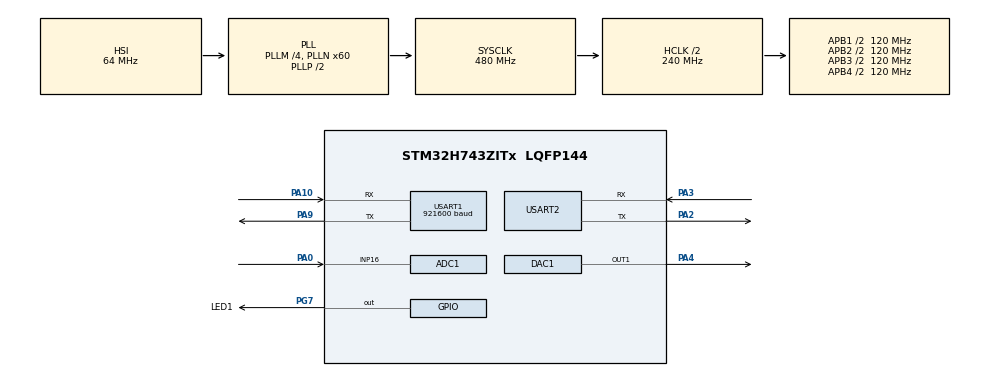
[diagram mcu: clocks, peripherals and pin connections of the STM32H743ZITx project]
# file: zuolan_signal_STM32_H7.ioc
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ADC1.Channel-0\#ChannelRegularConversion=ADC_CHANNEL_16
ADC1.ClockPrescaler=ADC_CLOCK_ASYNC_DIV4
ADC1.ContinuousConvMode=DISABLE
ADC1.ConversionDataManagement=ADC_CONVERSIONDATA_DMA_CIRCULAR
ADC1.ExternalTrigConv=ADC_EXTERNALTRIG_T2_TRGO
ADC1.NbrOfConversionFlag=1
ADC1.OffsetNumber-0\#ChannelRegularConversion=ADC_OFFSET_NONE
ADC1.OffsetSignedSaturation-0\#ChannelRegularConversion=DISABLE
ADC1.Overrun=ADC_OVR_DATA_OVERWRITTEN
ADC1.Rank-0\#ChannelRegularConversion=1
ADC1.SamplingTime-0\#ChannelRegularConversion=ADC_SAMPLETIME_8CYCLES_5
ADC1.master=1
CORTEX_M7.CPU_ICache=Enabled
CORTEX_M7.default_mode_Activation=1
DAC1.DAC_Channel-DAC_OUT1=DAC_CHANNEL_1
DAC1.DAC_Trigger-DAC_OUT1=DAC_TRIGGER_T6_TRGO
Dma.ADC1.2.Direction=DMA_PERIPH_TO_MEMORY
Dma.ADC1.2.EventEnable=DISABLE
Dma.ADC1.2.FIFOMode=DMA_FIFOMODE_DISABLE
Dma.ADC1.2.Instance=DMA1_Stream3
Dma.ADC1.2.MemDataAlignment=DMA_MDATAALIGN_HALFWORD
Dma.ADC1.2.MemInc=DMA_MINC_ENABLE
Dma.ADC1.2.Mode=DMA_CIRCULAR
Dma.ADC1.2.PeriphDataAlignment=DMA_PDATAALIGN_HALFWORD
Dma.ADC1.2.PeriphInc=DMA_PINC_DISABLE
Dma.ADC1.2.Polarity=HAL_DMAMUX_REQ_GEN_RISING
Dma.ADC1.2.Priority=DMA_PRIORITY_HIGH
Dma.ADC1.2.RequestNumber=1
Dma.ADC1.2.SignalID=NONE
Dma.ADC1.2.SyncEnable=DISABLE
Dma.ADC1.2.SyncPolarity=HAL_DMAMUX_SYNC_NO_EVENT
Dma.ADC1.2.SyncRequestNumber=1
Dma.ADC1.2.SyncSignalID=NONE
Dma.DAC1_CH1.3.Direction=DMA_MEMORY_TO_PERIPH
Dma.DAC1_CH1.3.EventEnable=DISABLE
Dma.DAC1_CH1.3.FIFOMode=DMA_FIFOMODE_DISABLE
Dma.DAC1_CH1.3.Instance=DMA1_Stream2
Dma.DAC1_CH1.3.MemDataAlignment=DMA_MDATAALIGN_HALFWORD
Dma.DAC1_CH1.3.MemInc=DMA_MINC_ENABLE
Dma.DAC1_CH1.3.Mode=DMA_CIRCULAR
Dma.DAC1_CH1.3.PeriphDataAlignment=DMA_PDATAALIGN_HALFWORD
Dma.DAC1_CH1.3.PeriphInc=DMA_PINC_DISABLE
Dma.DAC1_CH1.3.Polarity=HAL_DMAMUX_REQ_GEN_RISING
Dma.DAC1_CH1.3.Priority=DMA_PRIORITY_LOW
Dma.DAC1_CH1.3.RequestNumber=1
Dma.DAC1_CH1.3.SignalID=NONE
Dma.DAC1_CH1.3.SyncEnable=DISABLE
Dma.DAC1_CH1.3.SyncPolarity=HAL_DMAMUX_SYNC_NO_EVENT
Dma.DAC1_CH1.3.SyncRequestNumber=1
Dma.DAC1_CH1.3.SyncSignalID=NONE
Dma.Request0=USART1_RX
Dma.Request1=USART2_RX
Dma.Request2=ADC1
Dma.Request3=DAC1_CH1
Dma.Request4=USART1_TX
Dma.USART1_RX.0.Direction=DMA_PERIPH_TO_MEMORY
Dma.USART1_RX.0.EventEnable=DISABLE
Dma.USART1_RX.0.FIFOMode=DMA_FIFOMODE_DISABLE
Dma.USART1_RX.0.Instance=DMA1_Stream0
Dma.USART1_RX.0.MemDataAlignment=DMA_MDATAALIGN_BYTE
Dma.USART1_RX.0.MemInc=DMA_MINC_ENABLE
Dma.USART1_RX.0.Mode=DMA_CIRCULAR
Dma.USART1_RX.0.PeriphDataAlignment=DMA_PDATAALIGN_BYTE
Dma.USART1_RX.0.PeriphInc=DMA_PINC_DISABLE
Dma.USART1_RX.0.Polarity=HAL_DMAMUX_REQ_GEN_RISING
Dma.USART1_RX.0.Priority=DMA_PRIORITY_HIGH
Dma.USART1_RX.0.RequestNumber=1
Dma.USART1_RX.0.SignalID=NONE
Dma.USART1_RX.0.SyncEnable=DISABLE
Dma.USART1_RX.0.SyncPolarity=HAL_DMAMUX_SYNC_NO_EVENT
Dma.USART1_RX.0.SyncRequestNumber=1
Dma.USART1_RX.0.SyncSignalID=NONE
Dma.USART1_TX.4.Direction=DMA_MEMORY_TO_PERIPH
Dma.USART1_TX.4.EventEnable=DISABLE
Dma.USART1_TX.4.FIFOMode=DMA_FIFOMODE_DISABLE
Dma.USART1_TX.4.Instance=DMA1_Stream4
Dma.USART1_TX.4.MemDataAlignment=DMA_MDATAALIGN_BYTE
Dma.USART1_TX.4.MemInc=DMA_MINC_ENABLE
Dma.USART1_TX.4.Mode=DMA_NORMAL
Dma.USART1_TX.4.PeriphDataAlignment=DMA_PDATAALIGN_BYTE
Dma.USART1_TX.4.PeriphInc=DMA_PINC_DISABLE
Dma.USART1_TX.4.Polarity=HAL_DMAMUX_REQ_GEN_RISING
Dma.USART1_TX.4.Priority=DMA_PRIORITY_HIGH
Dma.USART1_TX.4.RequestNumber=1
Dma.USART1_TX.4.SignalID=NONE
Dma.USART1_TX.4.SyncEnable=DISABLE
Dma.USART1_TX.4.SyncPolarity=HAL_DMAMUX_SYNC_NO_EVENT
Dma.USART1_TX.4.SyncRequestNumber=1
Dma.USART1_TX.4.SyncSignalID=NONE
Dma.USART2_RX.1.Direction=DMA_PERIPH_TO_MEMORY
Dma.USART2_RX.1.EventEnable=DISABLE
Dma.USART2_RX.1.FIFOMode=DMA_FIFOMODE_DISABLE
Dma.USART2_RX.1.Instance=DMA1_Stream1
Dma.USART2_RX.1.MemDataAlignment=DMA_MDATAALIGN_BYTE
Dma.USART2_RX.1.MemInc=DMA_MINC_ENABLE
Dma.USART2_RX.1.Mode=DMA_CIRCULAR
Dma.USART2_RX.1.PeriphDataAlignment=DMA_PDATAALIGN_BYTE
Dma.USART2_RX.1.PeriphInc=DMA_PINC_DISABLE
Dma.USART2_RX.1.Polarity=HAL_DMAMUX_REQ_GEN_RISING
Dma.USART2_RX.1.Priority=DMA_PRIORITY_HIGH
Dma.USART2_RX.1.RequestNumber=1
Dma.USART2_RX.1.SignalID=NONE
Dma.USART2_RX.1.SyncEnable=DISABLE
Dma.USART2_RX.1.SyncPolarity=HAL_DMAMUX_SYNC_NO_EVENT
Dma.USART2_RX.1.SyncRequestNumber=1
Dma.USART2_RX.1.SyncSignalID=NONE
Mcu.Family=STM32H7
Mcu.Name=STM32H743ZITx
Mcu.Package=LQFP144
NVIC.DMA1_Stream0_IRQn=true\:5\:0\:false\:false\:true\:false\:true\:true
NVIC.DMA1_Stream1_IRQn=true\:5\:0\:false\:false\:true\:false\:true\:true
NVIC.DMA1_Stream2_IRQn=true\:0\:0\:false\:false\:true\:false\:true\:true
NVIC.DMA1_Stream3_IRQn=true\:0\:0\:false\:false\:true\:false\:true\:true
NVIC.DMA1_Stream4_IRQn=true\:0\:0\:false\:false\:true\:false\:true\:true
NVIC.PriorityGroup=NVIC_PRIORITYGROUP_4
NVIC.USART1_IRQn=true\:5\:0\:false\:false\:true\:true\:true\:true
NVIC.USART2_IRQn=true\:5\:0\:false\:false\:true\:true\:true\:true
PA0.Mode=IN16-Single-Ended
PA0.Signal=ADC1_INP16
PA10.Mode=Asynchronous
PA10.Signal=USART1_RX
PA13\ (JTMS/SWDIO).Mode=Serial_Wire
PA13\ (JTMS/SWDIO).Signal=DEBUG_JTMS-SWDIO
PA14\ (JTCK/SWCLK).Mode=Serial_Wire
PA14\ (JTCK/SWCLK).Signal=DEBUG_JTCK-SWCLK
PA2.Mode=Asynchronous
PA2.Signal=USART2_TX
PA3.Mode=Asynchronous
PA3.Signal=USART2_RX
PA4.Signal=COMP_DAC11_group
PA9.Mode=Asynchronous
PA9.Signal=USART1_TX
PC14-OSC32_IN\ (OSC32_IN).Mode=LSE-External-Oscillator
PC14-OSC32_IN\ (OSC32_IN).Signal=RCC_OSC32_IN
PC15-OSC32_OUT\ (OSC32_OUT).Mode=LSE-External-Oscillator
PC15-OSC32_OUT\ (OSC32_OUT).Signal=RCC_OSC32_OUT
PG7.GPIO_Label=LED1
PG7.PinState=GPIO_PIN_SET
PG7.Signal=GPIO_Output
PH0-OSC_IN\ (PH0).Mode=HSE-External-Oscillator
PH0-OSC_IN\ (PH0).Signal=RCC_OSC_IN
PH1-OSC_OUT\ (PH1).Mode=HSE-External-Oscillator
PH1-OSC_OUT\ (PH1).Signal=RCC_OSC_OUT
ProjectManager.HeapSize=0x200
ProjectManager.StackSize=0x400
ProjectManager.TargetToolchain=CMake
RCC.ADCCLockSelection=RCC_ADCCLKSOURCE_CLKP
RCC.ADCFreq_Value=64000000
RCC.APB1Freq_Value=120000000
RCC.APB2Freq_Value=120000000
RCC.APB3Freq_Value=120000000
RCC.APB4Freq_Value=120000000
RCC.CortexFreq_Value=480000000
RCC.D1PPRE=RCC_APB3_DIV2
RCC.D2PPRE1=RCC_APB1_DIV2
RCC.D2PPRE2=RCC_APB2_DIV2
RCC.D3PPRE=RCC_APB4_DIV2
RCC.DIVM1=4
RCC.DIVM2=4
RCC.DIVN1=60
RCC.DIVN2=9
RCC.HCLKFreq_Value=240000000
RCC.HPRE=RCC_HCLK_DIV2
RCC.HSE_VALUE=25000000
RCC.PLL2FRACN=0
RCC.PLLFRACN=0
RCC.PWR_Regulator_Voltage_Scale=PWR_REGULATOR_VOLTAGE_SCALE0
RCC.SYSCLKFreq_VALUE=480000000
RCC.SYSCLKSource=RCC_SYSCLKSOURCE_PLLCLK
RCC.USBFreq_Value=480000000
SH.COMP_DAC11_group.0=DAC1_OUT1,DAC_OUT1
TIM2.Period=99
TIM2.Prescaler=119
TIM2.TIM_MasterOutputTrigger=TIM_TRGO_UPDATE
TIM6.Period=9
TIM6.Prescaler=119
TIM6.TIM_MasterOutputTrigger=TIM_TRGO_UPDATE
USART1.BaudRate=921600
USART1.VirtualMode-Asynchronous=VM_ASYNC
USART2.VirtualMode-Asynchronous=VM_ASYNC
VP_MEMORYMAP_VS_MEMORYMAP.Mode=CurAppReg
VP_TIM2_VS_ClockSourceINT.Mode=Internal
VP_TIM6_VS_ClockSourceINT.Mode=Enable_Timer
board=custom

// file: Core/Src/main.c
/* USER CODE BEGIN Header */
/**
 ******************************************************************************
 * @file           : main.c
 * @brief          : Main program body
 ******************************************************************************
 * @attention
 *
 * Copyright (c) 2026 STMicroelectronics.
 * All rights reserved.
 *
 * This software is licensed under terms that can be found in the LICENSE file
 * in the root directory of this software component.
 * If no LICENSE file comes with this software, it is provided AS-IS.
 *
 ******************************************************************************
 */
/* USER CODE END Header */
#include "main.h"
#include "adc.h"
#include "dac.h"
#include "dma.h"
#include "tim.h"
#include "usart.h"
#include "gpio.h"

/* USER CODE BEGIN Includes */
#include "adc_app.h"
#include "dac_app.h"
#include "dsp.h"
#include "dsp_pipeline.h"
#include "led.h"
#include "scheduler.h"
#include "uart.h"

/* USER CODE END Includes */

/* USER CODE BEGIN PV */
static task_handle_t adc_task_handle = INVALID_TASK_HANDLE;
static task_handle_t led_task_handle = INVALID_TASK_HANDLE;
static task_handle_t uart_task_handle = INVALID_TASK_HANDLE;
static task_handle_t dsp_pipeline_task_handle = INVALID_TASK_HANDLE;

/* USER CODE END PV */

void SystemClock_Config(void);
void PeriphCommonClock_Config(void);
static void MPU_Config(void);

int main(void)
{

  /* MPU Configuration--------------------------------------------------------*/
  MPU_Config();

  /* Enable the CPU Cache */

  /* Enable I-Cache---------------------------------------------------------*/
  SCB_EnableICache();

  /* MCU Configuration--------------------------------------------------------*/

  /* Reset of all peripherals, Initializes the Flash interface and the Systick. */
  HAL_Init();

  /* Configure the system clock */
  SystemClock_Config();

  /* Configure the peripherals common clocks */
  PeriphCommonClock_Config();

  /* Initialize all configured peripherals */
  MX_GPIO_Init();
  MX_DMA_Init();
  MX_ADC1_Init();
  MX_DAC1_Init();
  MX_TIM2_Init();
  MX_TIM6_Init();
  MX_USART1_UART_Init();
  MX_USART2_UART_Init();
  /* USER CODE BEGIN 2 */
  ADC_APP_Init();
  DAC_APP_Init();
  DSP_Init();
  DSP_Pipeline_Init(&huart1);
  Scheduler_Init();
  LED_Init();
  UART_Init();
  adc_task_handle = Scheduler_AddTask(adc_proc, 1U, HAL_GetTick(), "adc");
  led_task_handle = Scheduler_AddTask(led_proc, 1U, HAL_GetTick(), "led");
  uart_task_handle = Scheduler_AddTask(uart_proc, 1U, HAL_GetTick(), "uart");
  dsp_pipeline_task_handle = Scheduler_AddTask(dsp_pipeline_proc, 1U, HAL_GetTick(), "dsp_pl");
  (void)adc_task_handle;
  (void)led_task_handle;
  (void)uart_task_handle;
  (void)dsp_pipeline_task_handle;

  /* USER CODE END 2 */

  /* Infinite loop */
  /* USER CODE BEGIN WHILE */
  while (1) {
    Scheduler_Run();
    /* USER CODE END WHILE */

  }
}

void SystemClock_Config(void)
{
  RCC_OscInitTypeDef RCC_OscInitStruct = {0};
  RCC_ClkInitTypeDef RCC_ClkInitStruct = {0};

  /** Supply configuration update enable
  */
  HAL_PWREx_ConfigSupply(PWR_LDO_SUPPLY);

  /** Configure the main internal regulator output voltage
  */
  __HAL_PWR_VOLTAGESCALING_CONFIG(PWR_REGULATOR_VOLTAGE_SCALE0);

  while(!__HAL_PWR_GET_FLAG(PWR_FLAG_VOSRDY)) {}

  /** Initializes the RCC Oscillators according to the specified parameters
  * in the RCC_OscInitTypeDef structure.
  */
  RCC_OscInitStruct.OscillatorType = RCC_OSCILLATORTYPE_HSI;
  RCC_OscInitStruct.HSIState = RCC_HSI_DIV1;
  RCC_OscInitStruct.HSICalibrationValue = RCC_HSICALIBRATION_DEFAULT;
  RCC_OscInitStruct.PLL.PLLState = RCC_PLL_ON;
  RCC_OscInitStruct.PLL.PLLSource = RCC_PLLSOURCE_HSI;
  RCC_OscInitStruct.PLL.PLLM = 4;
  RCC_OscInitStruct.PLL.PLLN = 60;
  RCC_OscInitStruct.PLL.PLLP = 2;
  RCC_OscInitStruct.PLL.PLLQ = 2;
  RCC_OscInitStruct.PLL.PLLR = 2;
  RCC_OscInitStruct.PLL.PLLRGE = RCC_PLL1VCIRANGE_3;
  RCC_OscInitStruct.PLL.PLLVCOSEL = RCC_PLL1VCOWIDE;
  RCC_OscInitStruct.PLL.PLLFRACN = 0;
  if (HAL_RCC_OscConfig(&RCC_OscInitStruct) != HAL_OK)
  {
    Error_Handler();
  }

  /** Initializes the CPU, AHB and APB buses clocks
  */
  RCC_ClkInitStruct.ClockType = RCC_CLOCKTYPE_HCLK|RCC_CLOCKTYPE_SYSCLK
                              |RCC_CLOCKTYPE_PCLK1|RCC_CLOCKTYPE_PCLK2
                              |RCC_CLOCKTYPE_D3PCLK1|RCC_CLOCKTYPE_D1PCLK1;
  RCC_ClkInitStruct.SYSCLKSource = RCC_SYSCLKSOURCE_PLLCLK;
  RCC_ClkInitStruct.SYSCLKDivider = RCC_SYSCLK_DIV1;
  RCC_ClkInitStruct.AHBCLKDivider = RCC_HCLK_DIV2;
  RCC_ClkInitStruct.APB3CLKDivider = RCC_APB3_DIV2;
  RCC_ClkInitStruct.APB1CLKDivider = RCC_APB1_DIV2;
  RCC_ClkInitStruct.APB2CLKDivider = RCC_APB2_DIV2;
  RCC_ClkInitStruct.APB4CLKDivider = RCC_APB4_DIV2;

  if (HAL_RCC_ClockConfig(&RCC_ClkInitStruct, FLASH_LATENCY_4) != HAL_OK)
  {
    Error_Handler();
  }
}

void PeriphCommonClock_Config(void)
{
  RCC_PeriphCLKInitTypeDef PeriphClkInitStruct = {0};

  /** Initializes the peripherals clock
  */
  PeriphClkInitStruct.PeriphClockSelection = RCC_PERIPHCLK_CKPER;
  PeriphClkInitStruct.CkperClockSelection = RCC_CLKPSOURCE_HSI;
  if (HAL_RCCEx_PeriphCLKConfig(&PeriphClkInitStruct) != HAL_OK)
  {
    Error_Handler();
  }
}

 /* MPU Configuration */

void MPU_Config(void)
{
  MPU_Region_InitTypeDef MPU_InitStruct = {0};

  /* Disables the MPU */
  HAL_MPU_Disable();

  /** Initializes and configures the Region and the memory to be protected
  */
  MPU_InitStruct.Enable = MPU_REGION_ENABLE;
  MPU_InitStruct.Number = MPU_REGION_NUMBER0;
  MPU_InitStruct.BaseAddress = 0x0;
  MPU_InitStruct.Size = MPU_REGION_SIZE_4GB;
  MPU_InitStruct.SubRegionDisable = 0x87;
  MPU_InitStruct.TypeExtField = MPU_TEX_LEVEL0;
  MPU_InitStruct.AccessPermission = MPU_REGION_NO_ACCESS;
  MPU_InitStruct.DisableExec = MPU_INSTRUCTION_ACCESS_DISABLE;
  MPU_InitStruct.IsShareable = MPU_ACCESS_SHAREABLE;
  MPU_InitStruct.IsCacheable = MPU_ACCESS_NOT_CACHEABLE;
  MPU_InitStruct.IsBufferable = MPU_ACCESS_NOT_BUFFERABLE;

  HAL_MPU_ConfigRegion(&MPU_InitStruct);
  /* Enables the MPU */
  HAL_MPU_Enable(MPU_PRIVILEGED_DEFAULT);

}

void Error_Handler(void)
{
  __disable_irq();
  while (1) {
  }
}
#ifdef USE_FULL_ASSERT
/**
  * @brief  Reports the name of the source file and the source line number
  *         where the assert_param error has occurred.
  * @param  file: pointer to the source file name
  * @param  line: assert_param error line source number
  * @retval None
  */
void assert_failed(uint8_t *file, uint32_t line)
{
  /* USER CODE BEGIN 6 */
  /* User can add his own implementation to report the file name and line
     number, ex: printf("Wrong parameters value: file %s on line %d\r\n", file,
     line) */
  /* USER CODE END 6 */
}
#endif /* USE_FULL_ASSERT */
